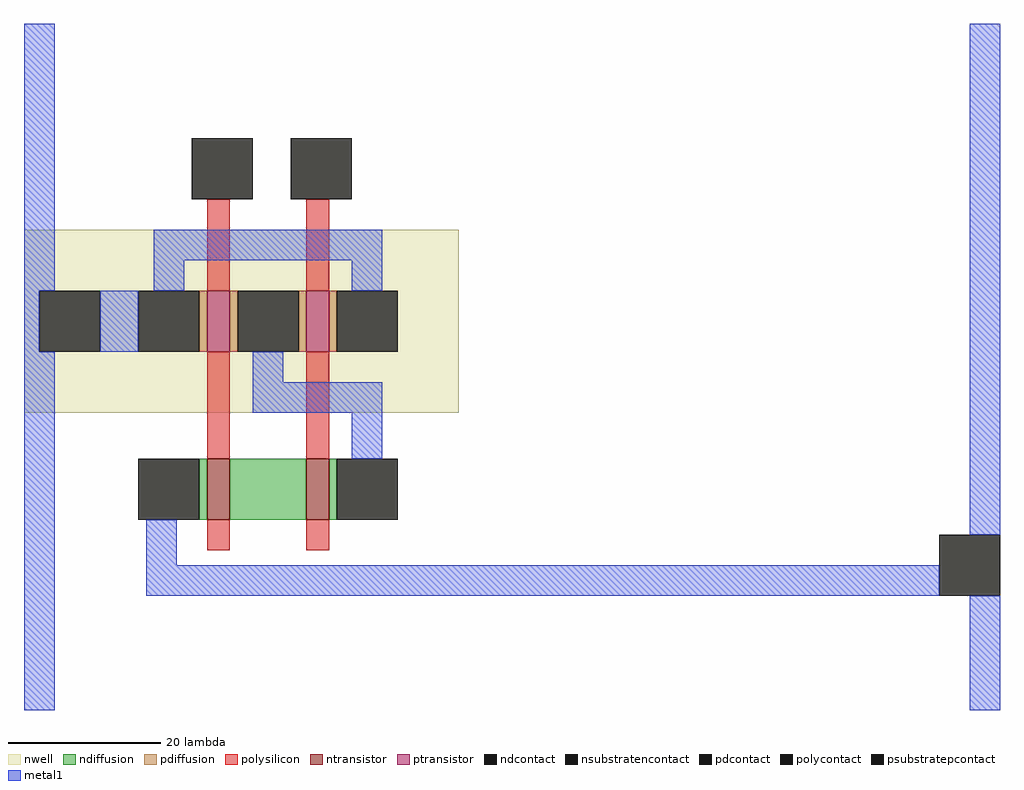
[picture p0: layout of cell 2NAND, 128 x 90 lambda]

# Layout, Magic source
magic
tech tsmc
<< nwell >>
rect -16 -8 41 16
<< ntransistor >>
rect 8 -22 11 -14
rect 21 -22 24 -14
<< ptransistor >>
rect 8 0 11 8
rect 21 0 24 8
<< ndiffusion >>
rect 7 -22 8 -14
rect 11 -22 21 -14
rect 24 -22 25 -14
<< pdiffusion >>
rect 7 0 8 8
rect 11 0 12 8
rect 20 0 21 8
rect 24 0 25 8
<< ndcontact >>
rect -1 -22 7 -14
rect 25 -22 33 -14
<< pdcontact >>
rect -1 0 7 8
rect 12 0 20 8
rect 25 0 33 8
<< psubstratepcontact >>
rect 104 -32 112 -24
<< nsubstratencontact >>
rect -14 0 -6 8
<< polysilicon >>
rect 8 8 11 20
rect 21 8 24 20
rect 8 -14 11 0
rect 21 -14 24 0
rect 8 -26 11 -22
rect 21 -26 24 -22
<< polycontact >>
rect 6 20 14 28
rect 19 20 27 28
<< metal1 >>
rect -16 8 -12 43
rect 1 12 31 16
rect 1 8 5 12
rect 27 8 31 12
rect -16 0 -14 8
rect -6 0 -1 8
rect -16 -47 -12 0
rect 14 -4 18 0
rect 14 -8 31 -4
rect 27 -14 31 -8
rect 0 -28 4 -22
rect 108 -24 112 43
rect 0 -32 104 -28
rect 108 -47 112 -32
<< end >>
